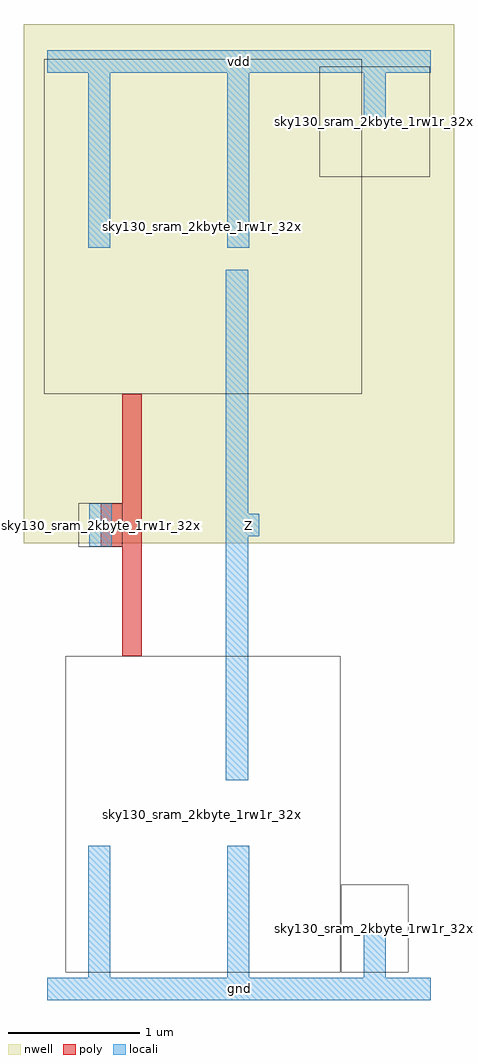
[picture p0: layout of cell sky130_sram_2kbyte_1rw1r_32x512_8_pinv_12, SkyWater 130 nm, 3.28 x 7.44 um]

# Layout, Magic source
magic
tech sky130A
magscale 1 2
<< nwell >>
rect -36 679 620 1471
<< poly >>
rect 114 740 144 907
rect 81 674 144 740
rect 114 507 144 674
<< locali >>
rect 0 1397 584 1431
rect 62 1130 96 1397
rect 274 1130 308 1397
rect 482 1322 516 1397
rect 64 674 98 740
rect 272 724 306 1096
rect 272 690 323 724
rect 272 318 306 690
rect 62 17 96 218
rect 274 17 308 218
rect 482 17 516 92
rect 0 -17 584 17
use sky130_sram_2kbyte_1rw1r_32x512_8_pmos_m3_w2_000_sli_dli_da_p  sky130_sram_2kbyte_1rw1r_32x512_8_pmos_m3_w2_000_sli_dli_da_p_0
transform 1 0 54 0 1 963
box -59 -56 425 454
use sky130_sram_2kbyte_1rw1r_32x512_8_nmos_m3_w2_000_sli_dli_da_p  sky130_sram_2kbyte_1rw1r_32x512_8_nmos_m3_w2_000_sli_dli_da_p_0
transform 1 0 54 0 1 51
box -26 -26 392 456
use sky130_sram_2kbyte_1rw1r_32x512_8_contact_16  sky130_sram_2kbyte_1rw1r_32x512_8_contact_16_0
transform 1 0 48 0 1 674
box 0 0 66 66
use sky130_sram_2kbyte_1rw1r_32x512_8_contact_29  sky130_sram_2kbyte_1rw1r_32x512_8_contact_29_0
transform 1 0 474 0 1 51
box -26 -26 76 108
use sky130_sram_2kbyte_1rw1r_32x512_8_contact_28  sky130_sram_2kbyte_1rw1r_32x512_8_contact_28_0
transform 1 0 474 0 1 1281
box -59 -43 109 125
<< labels >>
rlabel locali s 81 707 81 707 4 A
rlabel locali s 306 707 306 707 4 Z
rlabel locali s 292 0 292 0 4 gnd
rlabel locali s 292 1414 292 1414 4 vdd
<< properties >>
string FIXED_BBOX 0 0 584 1414
<< end >>
